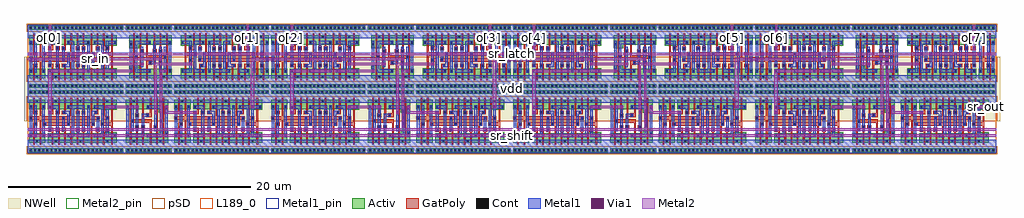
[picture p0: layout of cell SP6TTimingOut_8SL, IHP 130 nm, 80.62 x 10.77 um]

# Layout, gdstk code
from math import pi, radians
import gdstk
lib = gdstk.Library(unit=1e-6, precision=1e-09)
def R(c, l, rs):  # rectangles x0, y0, x1, y1
    for r in rs: c.add(gdstk.rectangle(r[:2], r[2:], *l))
def A(c, l, x, y, w, h, nx, ny, dx, dy):  # array of equal rectangles
    R(c, l, [(x+i*dx, y+j*dy, x+i*dx+w, y+j*dy+h) for i in range(nx) for j in range(ny)])
def P(c, l, *ps):  # polygons
    for p in ps: c.add(gdstk.Polygon(p, *l))
Activ = (1, 0)
GatPoly = (5, 0)
Cont = (6, 0)
Metal1 = (8, 0)
Metal1_pin = (8, 2)
Metal2 = (10, 0)
Metal2_pin = (10, 2)
pSD = (14, 0)
Via1 = (19, 0)
NWell = (31, 0)
L189_0 = (189, 0)

dff_x1 = lib.new_cell('dff_x1')
R(dff_x1, Activ, [(0.105,0.105,7.895,0.405), (0.105,0.89,1.445,1.67), (0.105,3.64,1.445,4.42), (0.105,4.905,7.895,5.205)])
P(dff_x1, Activ, [(6.415,3.6),(6.415,3.64),(1.655,3.64),(1.655,4.42),(7.365,4.42),(7.365,3.6)],
  [(1.655,0.89),(1.655,1.67),(6.415,1.67),(6.415,1.72),(7.365,1.72),(7.365,0.89)])
P(dff_x1, GatPoly, [(4.035,0.71),(4.035,1.79),(3.985,1.79),(3.985,2.09),(4.285,2.09),(4.285,1.79),(4.165,1.79),(4.165,0.71)],
  [(6.215,2.75),(6.215,4.6),(6.345,4.6),(6.345,3.05),(6.715,3.05),(6.715,2.75)],
  [(4.545,0.71),(4.545,1.79),(4.465,1.79),(4.465,2.09),(4.765,2.09),(4.765,1.79),(4.675,1.79),(4.675,0.71)],
  [(6.215,0.71),(6.215,2.09),(6.715,2.09),(6.715,1.79),(6.345,1.79),(6.345,0.71)],
  [(6.895,0.71),(6.895,2.27),(6.025,2.27),(6.025,2.57),(6.895,2.57),(6.895,4.6),(7.025,4.6),(7.025,0.71)],
  [(5.705,0.71),(5.705,1.79),(5.635,1.79),(5.635,2.09),(5.935,2.09),(5.935,1.79),(5.835,1.79),(5.835,0.71)],
  [(2.505,0.71),(2.505,1.79),(2.305,1.79),(2.305,2.09),(2.635,2.09),(2.635,0.71)],
  [(3.015,0.71),(3.015,1.79),(2.815,1.79),(2.815,2.09),(3.145,2.09),(3.145,0.71)],
  [(0.975,0.71),(0.975,2.75),(0.105,2.75),(0.105,3.05),(0.975,3.05),(0.975,4.6),(1.105,4.6),(1.105,3.05),(3.525,3.05),(3.525,4.6),(3.655,4.6),(3.655,3.05),(5.195,3.05),(5.195,4.6),(5.325,4.6),(5.325,3.05),(5.935,3.05),(5.935,2.75),(1.105,2.75),(1.105,0.71)],
  [(1.995,0.71),(1.995,1.79),(1.675,1.79),(1.675,2.09),(2.125,2.09),(2.125,0.71)],
  [(2.305,3.23),(2.305,3.53),(2.505,3.53),(2.505,4.6),(2.635,4.6),(2.635,3.23)],
  [(2.815,3.23),(2.815,3.53),(3.015,3.53),(3.015,4.6),(3.145,4.6),(3.145,3.23)],
  [(5.505,3.23),(5.505,3.53),(5.705,3.53),(5.705,4.6),(5.835,4.6),(5.835,3.23)],
  [(0.445,0.71),(0.445,2.57),(0.795,2.57),(0.795,2.27),(0.575,2.27),(0.575,0.71)],
  [(3.525,0.71),(3.525,2.27),(1.285,2.27),(1.285,2.57),(5.545,2.57),(5.545,2.27),(5.325,2.27),(5.325,0.71),(5.195,0.71),(5.195,2.27),(3.655,2.27),(3.655,0.71)],
  [(3.985,3.23),(3.985,3.53),(4.035,3.53),(4.035,4.6),(4.165,4.6),(4.165,3.53),(4.285,3.53),(4.285,3.23)],
  [(0.445,3.23),(0.445,4.6),(0.575,4.6),(0.575,3.53),(0.795,3.53),(0.795,3.23)],
  [(1.675,3.23),(1.675,3.53),(1.995,3.53),(1.995,4.6),(2.125,4.6),(2.125,3.23)],
  [(4.465,3.23),(4.465,3.53),(4.545,3.53),(4.545,4.6),(4.675,4.6),(4.675,3.53),(4.765,3.53),(4.765,3.23)])
A(dff_x1, Cont, 0.18, 0.175, 0.16, 0.16, 23, 2, 0.34, 4.8)
R(dff_x1, Cont, [(0.685,0.96,0.845,1.12), (2.235,0.96,2.395,1.12), (4.275,0.96,4.435,1.12), (6.485,0.96,6.645,1.12), (0.175,1.405,0.335,1.565), (1.215,1.405,1.375,1.565), (1.725,1.405,1.885,1.565), (3.255,1.405,3.415,1.565), (4.925,1.405,5.085,1.565), (5.435,1.405,5.595,1.565), (7.135,1.405,7.295,1.565), (1.745,1.86,1.905,2.02), (2.375,1.86,2.535,2.02), (2.885,1.86,3.045,2.02), (4.055,1.86,4.215,2.02), (4.535,1.86,4.695,2.02), (5.705,1.86,5.865,2.02), (6.485,1.86,6.645,2.02), (0.565,2.34,0.725,2.5), (1.355,2.34,1.515,2.5), (3.275,2.34,3.435,2.5), (5.315,2.34,5.475,2.5), (6.095,2.34,6.255,2.5), (0.175,2.82,0.335,2.98), (2.885,2.82,3.045,2.98), (5.705,2.82,5.865,2.98), (6.485,2.82,6.645,2.98), (0.565,3.3,0.725,3.46), (1.745,3.3,1.905,3.46), (2.375,3.3,2.535,3.46), (2.885,3.3,3.045,3.46), (4.055,3.3,4.215,3.46), (4.535,3.3,4.695,3.46), (5.575,3.3,5.735,3.46), (0.175,3.75,0.335,3.91), (1.215,3.75,1.375,3.91), (1.725,3.75,1.885,3.91), (3.255,3.75,3.415,3.91), (4.925,3.75,5.085,3.91), (5.435,3.75,5.595,3.91), (7.135,3.75,7.295,3.91), (0.685,4.19,0.845,4.35), (2.235,4.19,2.395,4.35), (4.275,4.19,4.435,4.35), (6.485,4.19,6.645,4.35)])
R(dff_x1, Metal1, [(0,0,8,1.12), (0.54,1.34,0.75,3.97), (1.72,1.81,1.93,3.51), (2.86,1.81,3.07,3.03), (5.68,1.81,5.89,3.03), (0,4.19,8,5.31)])
P(dff_x1, Metal1, [(0.175,1.34),(0.175,1.37),(0.15,1.37),(0.15,3.95),(0.175,3.95),(0.175,3.97),(0.335,3.97),(0.335,3.95),(0.36,3.95),(0.36,1.37),(0.335,1.37),(0.335,1.34)],
  [(1.215,1.34),(1.215,1.37),(1.19,1.37),(1.19,3.95),(1.215,3.95),(1.215,3.97),(1.375,3.97),(1.375,3.95),(1.4,3.95),(1.4,2.55),(1.515,2.55),(1.515,2.29),(1.4,2.29),(1.4,1.37),(1.375,1.37),(1.375,1.34)],
  [(5.29,2.29),(5.29,3.51),(5.735,3.51),(5.735,3.25),(5.5,3.25),(5.5,2.29)],
  [(3.25,2.29),(3.25,3.25),(2.885,3.25),(2.885,3.51),(3.46,3.51),(3.46,2.29)],
  [(3.255,1.34),(3.255,1.63),(3.64,1.63),(3.64,3.69),(3.255,3.69),(3.255,3.97),(4.615,3.97),(4.615,3.95),(4.72,3.95),(4.72,1.81),(4.51,1.81),(4.51,3.69),(3.85,3.69),(3.85,1.37),(3.745,1.37),(3.745,1.34)],
  [(1.725,1.34),(1.725,1.63),(2.35,1.63),(2.35,3.69),(1.725,3.69),(1.725,3.97),(2.455,3.97),(2.455,3.95),(2.56,3.95),(2.56,1.37),(2.455,1.37),(2.455,1.34)],
  [(4.135,1.34),(4.135,1.37),(4.03,1.37),(4.03,3.51),(4.24,3.51),(4.24,1.63),(4.9,1.63),(4.9,3.95),(4.925,3.95),(4.925,3.97),(5.085,3.97),(5.085,3.95),(5.11,3.95),(5.11,1.37),(5.085,1.37),(5.085,1.34)],
  [(5.435,1.34),(5.435,1.63),(6.07,1.63),(6.07,3.69),(5.435,3.69),(5.435,3.97),(6.175,3.97),(6.175,3.95),(6.28,3.95),(6.28,1.37),(6.175,1.37),(6.175,1.34)],
  [(6.46,1.34),(6.46,3.97),(7.295,3.97),(7.295,3.69),(6.67,3.69),(6.67,1.63),(7.295,1.63),(7.295,1.34)])
R(dff_x1, Metal1_pin, [(0,0,8,1.12), (0.54,1.34,0.75,3.97), (6.46,1.34,6.67,3.97), (1.72,1.81,1.93,3.51), (0,4.19,8,5.31)])
R(dff_x1, pSD, [(-0.075,-0.075,8.075,0.585), (-0.075,2.66,8.075,4.72)])
R(dff_x1, NWell, [(-0.31,2.66,8.31,5.62)])
dff_x1.add(gdstk.Label('vdd', (4,4.75), layer=8, texttype=25))
dff_x1.add(gdstk.Label('vss', (4,0.56), layer=8, texttype=25))
dff_x1.add(gdstk.Label('clk', (0.645,2.655), layer=8, texttype=25))
dff_x1.add(gdstk.Label('i', (1.825,2.66), layer=8, texttype=25))
dff_x1.add(gdstk.Label('q', (6.565,2.655), layer=8, texttype=25))

mux2_x1 = lib.new_cell('mux2_x1')
R(mux2_x1, Activ, [(0.105,0.105,3.895,0.405), (0.105,4.905,3.895,5.205)])
P(mux2_x1, Activ, [(2.805,3.36),(2.805,3.64),(0.105,3.64),(0.105,4.42),(3.615,4.42),(3.615,3.36)],
  [(0.105,0.89),(0.105,1.67),(2.805,1.67),(2.805,1.96),(3.615,1.96),(3.615,0.89)])
P(mux2_x1, GatPoly, [(1.775,2.99),(1.775,3.29),(2.095,3.29),(2.095,4.6),(2.225,4.6),(2.225,2.99)],
  [(0.955,0.71),(0.955,2.03),(0.885,2.03),(0.885,2.33),(1.185,2.33),(1.185,2.03),(1.085,2.03),(1.085,0.71)],
  [(1.465,0.71),(1.465,2.03),(1.365,2.03),(1.365,2.33),(1.665,2.33),(1.665,2.03),(1.595,2.03),(1.595,0.71)],
  [(0.445,0.71),(0.445,4.6),(0.575,4.6),(0.575,2.81),(1.465,2.81),(1.465,4.6),(1.595,4.6),(1.595,2.81),(2.225,2.81),(2.225,0.71),(2.095,0.71),(2.095,2.51),(0.575,2.51),(0.575,0.71)],
  [(0.885,2.99),(0.885,3.29),(0.955,3.29),(0.955,4.6),(1.085,4.6),(1.085,3.29),(1.185,3.29),(1.185,2.99)],
  [(3.145,0.71),(3.145,2.51),(2.915,2.51),(2.915,2.81),(3.145,2.81),(3.145,4.6),(3.275,4.6),(3.275,0.71)],
  [(2.605,0.71),(2.605,2.03),(2.405,2.03),(2.405,2.33),(2.605,2.33),(2.605,4.6),(2.735,4.6),(2.735,0.71)])
A(mux2_x1, Cont, 0.22, 0.175, 0.16, 0.16, 11, 2, 0.34, 4.8)
R(mux2_x1, Cont, [(0.685,0.96,0.845,1.12), (2.875,0.96,3.035,1.12), (0.175,1.415,0.335,1.575), (1.825,1.415,1.985,1.575), (3.385,1.525,3.545,1.685), (0.955,2.1,1.115,2.26), (1.435,2.1,1.595,2.26), (2.475,2.1,2.635,2.26), (0.565,2.58,0.725,2.74), (2.985,2.58,3.145,2.74), (0.955,3.06,1.115,3.22), (1.845,3.06,2.005,3.22), (3.385,3.63,3.545,3.79), (0.175,3.735,0.335,3.895), (1.825,3.735,1.985,3.895), (0.685,4.19,0.845,4.35), (2.875,4.19,3.035,4.35)])
R(mux2_x1, Metal1, [(0,0,4,1.12), (3.36,1.34,3.57,3.97), (0.54,1.805,0.75,3.97), (0.93,1.805,1.14,3.97), (2.45,1.805,2.66,3.505), (0,4.19,4,5.31)])
P(mux2_x1, Metal1, [(0.175,1.34),(0.175,1.365),(0.15,1.365),(0.15,3.945),(0.175,3.945),(0.175,3.97),(0.335,3.97),(0.335,3.945),(0.36,3.945),(0.36,1.625),(1.41,1.625),(1.41,3.27),(2.005,3.27),(2.005,3.01),(1.62,3.01),(1.62,1.365),(1.515,1.365),(1.515,1.34)],
  [(1.825,1.34),(1.825,1.625),(2.96,1.625),(2.96,3.685),(1.825,3.685),(1.825,3.97),(3.065,3.97),(3.065,3.945),(3.17,3.945),(3.17,1.365),(3.065,1.365),(3.065,1.34)])
R(mux2_x1, Metal1_pin, [(0,0,4,1.12), (3.36,1.34,3.57,3.97), (0.54,1.805,0.75,3.97), (0.93,1.805,1.14,3.97), (2.45,1.805,2.66,3.505), (0,4.19,4,5.31)])
R(mux2_x1, pSD, [(-0.075,-0.075,4.075,0.585), (-0.075,2.66,4.075,4.72)])
R(mux2_x1, NWell, [(-0.31,2.66,4.31,5.62)])
mux2_x1.add(gdstk.Label('vdd', (2,4.75), layer=8, texttype=25))
mux2_x1.add(gdstk.Label('vss', (2,0.56), layer=8, texttype=25))
mux2_x1.add(gdstk.Label('cmd', (0.645,2.887), layer=8, texttype=25))
mux2_x1.add(gdstk.Label('i0', (1.035,2.887), layer=8, texttype=25))
mux2_x1.add(gdstk.Label('i1', (2.555,2.655), layer=8, texttype=25))
mux2_x1.add(gdstk.Label('q', (3.465,2.655), layer=8, texttype=25))

sp6ttimingout_8sl = lib.new_cell('SP6TTimingOut_8SL')
A(sp6ttimingout_8sl, Metal1, 8.54, 1.805, 0.21, 0.29, 4, 1, 20, 0)
A(sp6ttimingout_8sl, Metal1, 10.45, 3.215, 0.21, 0.29, 4, 1, 20, 0)
A(sp6ttimingout_8sl, Metal1, 10.86, 7.655, 0.21, 0.29, 4, 1, 20, 0)
R(sp6ttimingout_8sl, Metal1, [(0,0,80,1.12), (0.54,1.34,0.75,1.63), (12.54,1.34,12.75,1.63), (20.54,1.34,20.75,1.63), (32.54,1.34,32.75,1.63), (40.54,1.34,40.75,1.63), (52.54,1.34,52.75,1.63), (60.54,1.34,60.75,1.63), (72.54,1.34,72.75,1.63), (1.72,3.22,1.93,3.51), (13.72,3.22,13.93,3.51), (21.72,3.22,21.93,3.51), (33.72,3.22,33.93,3.51), (41.72,3.22,41.93,3.51), (53.72,3.22,53.93,3.51), (61.72,3.22,61.93,3.51), (73.72,3.22,73.93,3.51), (6.46,3.68,6.67,3.97), (8.93,3.68,9.14,3.97), (11.36,3.68,11.57,3.97), (18.46,3.68,18.67,3.97), (26.46,3.68,26.67,3.97), (28.93,3.68,29.14,3.97), (31.36,3.68,31.57,3.97), (38.46,3.68,38.67,3.97), (46.46,3.68,46.67,3.97), (48.93,3.68,49.14,3.97), (51.36,3.68,51.57,3.97), (58.46,3.68,58.67,3.97), (66.46,3.68,66.67,3.97), (68.93,3.68,69.14,3.97), (71.36,3.68,71.57,3.97), (78.46,3.68,78.67,3.97), (0,4.19,80,6.43), (8.43,6.65,8.64,6.94), (11.25,6.65,11.46,6.94), (28.43,6.65,28.64,6.94), (31.25,6.65,31.46,6.94), (48.43,6.65,48.64,6.94), (51.25,6.65,51.46,6.94), (68.43,6.65,68.64,6.94), (71.25,6.65,71.46,6.94), (6.46,7.245,6.67,7.535), (9.34,7.245,9.55,7.535), (13.33,7.245,13.54,7.535), (26.46,7.245,26.67,7.535), (29.34,7.245,29.55,7.535), (33.33,7.245,33.54,7.535), (46.46,7.245,46.67,7.535), (49.34,7.245,49.55,7.535), (53.33,7.245,53.54,7.535), (66.46,7.245,66.67,7.535), (69.34,7.245,69.55,7.535), (73.33,7.245,73.54,7.535), (0.54,8.065,0.75,8.355), (19.25,8.065,19.46,8.355), (20.54,8.065,20.75,8.355), (39.25,8.065,39.46,8.355), (40.54,8.065,40.75,8.355), (59.25,8.065,59.46,8.355), (60.54,8.065,60.75,8.355), (79.25,8.065,79.46,8.355), (1.72,8.52,1.93,8.81), (18.07,8.52,18.28,8.81), (21.72,8.52,21.93,8.81), (38.07,8.52,38.28,8.81), (41.72,8.52,41.93,8.81), (58.07,8.52,58.28,8.81), (61.72,8.52,61.93,8.81), (78.07,8.52,78.28,8.81), (0,9.5,80,10.62)])
R(sp6ttimingout_8sl, Metal1_pin, [(0,0,80,1.12), (0,4.19,80,6.43), (0,9.5,80,10.62)])
A(sp6ttimingout_8sl, Metal2, 6.42, 3.725, 2.76, 0.2, 4, 1, 20, 0)
A(sp6ttimingout_8sl, Metal2, 6.42, 7.29, 3.17, 0.2, 4, 1, 20, 0)
R(sp6ttimingout_8sl, Metal2, [(0,1.385,80,1.585), (78.42,3.725,80,3.925), (0,7.7,11.11,7.9), (0,8.11,80,8.31), (1.725,8.52,1.925,10.62), (18.075,8.52,18.275,10.62), (21.725,8.52,21.925,10.62), (38.075,8.52,38.275,10.62), (41.725,8.52,41.925,10.62), (58.075,8.52,58.275,10.62), (61.725,8.52,61.925,10.62), (78.075,8.52,78.275,10.62)])
P(sp6ttimingout_8sl, Metal2, [(0,1.85),(0,2.05),(10.91,2.05),(10.91,6.895),(11.5,6.895),(11.5,6.695),(11.11,6.695),(11.11,2.05),(30.91,2.05),(30.91,6.895),(31.5,6.895),(31.5,6.695),(31.11,6.695),(31.11,2.05),(50.91,2.05),(50.91,6.895),(51.5,6.895),(51.5,6.695),(51.11,6.695),(51.11,2.05),(70.91,2.05),(70.91,6.895),(71.5,6.895),(71.5,6.695),(71.11,6.695),(71.11,2.05),(80,2.05),(80,1.85)],
  [(1.68,3.265),(1.68,6.895),(8.68,6.895),(8.68,6.695),(1.97,6.695),(1.97,3.265)],
  [(21.68,3.265),(21.68,6.895),(28.68,6.895),(28.68,6.695),(21.97,6.695),(21.97,3.265)],
  [(41.68,3.265),(41.68,6.895),(48.68,6.895),(48.68,6.695),(41.97,6.695),(41.97,3.265)],
  [(61.68,3.265),(61.68,6.895),(68.68,6.895),(68.68,6.695),(61.97,6.695),(61.97,3.265)],
  [(18.42,3.725),(18.42,7.9),(31.11,7.9),(31.11,7.7),(18.71,7.7),(18.71,3.725)],
  [(38.42,3.725),(38.42,7.9),(51.11,7.9),(51.11,7.7),(38.71,7.7),(38.71,3.725)],
  [(58.42,3.725),(58.42,7.9),(71.11,7.9),(71.11,7.7),(58.71,7.7),(58.71,3.725)],
  [(11.32,3.265),(11.32,3.925),(11.61,3.925),(11.61,3.465),(13.97,3.465),(13.97,3.265)],
  [(31.32,3.265),(31.32,3.925),(31.61,3.925),(31.61,3.465),(33.97,3.465),(33.97,3.265)],
  [(51.32,3.265),(51.32,3.925),(51.61,3.925),(51.61,3.465),(53.97,3.465),(53.97,3.265)],
  [(71.32,3.265),(71.32,3.925),(71.61,3.925),(71.61,3.465),(73.97,3.465),(73.97,3.265)],
  [(10.455,3.215),(10.455,7.49),(13.58,7.49),(13.58,7.29),(10.655,7.29),(10.655,3.215)],
  [(30.455,3.215),(30.455,7.49),(33.58,7.49),(33.58,7.29),(30.655,7.29),(30.655,3.215)],
  [(50.455,3.215),(50.455,7.49),(53.58,7.49),(53.58,7.29),(50.655,7.29),(50.655,3.215)],
  [(70.455,3.215),(70.455,7.49),(73.58,7.49),(73.58,7.29),(70.655,7.29),(70.655,3.215)])
R(sp6ttimingout_8sl, Metal2_pin, [(0,1.385,80,1.585), (0,1.85,80,2.05), (78.42,3.725,80,3.925), (0,7.7,11.11,7.9), (0,8.11,80,8.31), (1.725,8.52,1.925,10.62), (18.075,8.52,18.275,10.62), (21.725,8.52,21.925,10.62), (38.075,8.52,38.275,10.62), (41.725,8.52,41.925,10.62), (58.075,8.52,58.275,10.62), (61.725,8.52,61.925,10.62), (78.075,8.52,78.275,10.62)])
A(sp6ttimingout_8sl, Via1, 8.55, 1.855, 0.19, 0.19, 4, 1, 20, 0)
A(sp6ttimingout_8sl, Via1, 10.46, 3.265, 0.19, 0.19, 4, 1, 20, 0)
A(sp6ttimingout_8sl, Via1, 10.87, 7.705, 0.19, 0.19, 4, 1, 20, 0)
R(sp6ttimingout_8sl, Via1, [(0.55,1.39,0.74,1.58), (12.55,1.39,12.74,1.58), (20.55,1.39,20.74,1.58), (32.55,1.39,32.74,1.58), (40.55,1.39,40.74,1.58), (52.55,1.39,52.74,1.58), (60.55,1.39,60.74,1.58), (72.55,1.39,72.74,1.58), (1.73,3.27,1.92,3.46), (13.73,3.27,13.92,3.46), (21.73,3.27,21.92,3.46), (33.73,3.27,33.92,3.46), (41.73,3.27,41.92,3.46), (53.73,3.27,53.92,3.46), (61.73,3.27,61.92,3.46), (73.73,3.27,73.92,3.46), (6.47,3.73,6.66,3.92), (8.94,3.73,9.13,3.92), (11.37,3.73,11.56,3.92), (18.47,3.73,18.66,3.92), (26.47,3.73,26.66,3.92), (28.94,3.73,29.13,3.92), (31.37,3.73,31.56,3.92), (38.47,3.73,38.66,3.92), (46.47,3.73,46.66,3.92), (48.94,3.73,49.13,3.92), (51.37,3.73,51.56,3.92), (58.47,3.73,58.66,3.92), (66.47,3.73,66.66,3.92), (68.94,3.73,69.13,3.92), (71.37,3.73,71.56,3.92), (78.47,3.73,78.66,3.92), (8.44,6.7,8.63,6.89), (11.26,6.7,11.45,6.89), (28.44,6.7,28.63,6.89), (31.26,6.7,31.45,6.89), (48.44,6.7,48.63,6.89), (51.26,6.7,51.45,6.89), (68.44,6.7,68.63,6.89), (71.26,6.7,71.45,6.89), (6.47,7.295,6.66,7.485), (9.35,7.295,9.54,7.485), (13.34,7.295,13.53,7.485), (26.47,7.295,26.66,7.485), (29.35,7.295,29.54,7.485), (33.34,7.295,33.53,7.485), (46.47,7.295,46.66,7.485), (49.35,7.295,49.54,7.485), (53.34,7.295,53.53,7.485), (66.47,7.295,66.66,7.485), (69.35,7.295,69.54,7.485), (73.34,7.295,73.53,7.485), (0.55,8.115,0.74,8.305), (19.26,8.115,19.45,8.305), (20.55,8.115,20.74,8.305), (39.26,8.115,39.45,8.305), (40.55,8.115,40.74,8.305), (59.26,8.115,59.45,8.305), (60.55,8.115,60.74,8.305), (79.26,8.115,79.45,8.305), (1.73,8.57,1.92,8.76), (18.08,8.57,18.27,8.76), (21.73,8.57,21.92,8.76), (38.08,8.57,38.27,8.76), (41.73,8.57,41.92,8.76), (58.08,8.57,58.27,8.76), (61.73,8.57,61.92,8.76), (78.08,8.57,78.27,8.76)])
R(sp6ttimingout_8sl, L189_0, [(0,0,80,10.62)])
sp6ttimingout_8sl.add(gdstk.Reference(dff_x1, (0,0)))
sp6ttimingout_8sl.add(gdstk.Reference(dff_x1, (12,0)))
sp6ttimingout_8sl.add(gdstk.Reference(dff_x1, (20,0)))
sp6ttimingout_8sl.add(gdstk.Reference(dff_x1, (32,0)))
sp6ttimingout_8sl.add(gdstk.Reference(dff_x1, (40,0)))
sp6ttimingout_8sl.add(gdstk.Reference(dff_x1, (52,0)))
sp6ttimingout_8sl.add(gdstk.Reference(dff_x1, (60,0)))
sp6ttimingout_8sl.add(gdstk.Reference(dff_x1, (72,0)))
sp6ttimingout_8sl.add(gdstk.Reference(dff_x1, (0,10.62), x_reflection=True))
sp6ttimingout_8sl.add(gdstk.Reference(dff_x1, (20,10.62), x_reflection=True))
sp6ttimingout_8sl.add(gdstk.Reference(dff_x1, (40,10.62), x_reflection=True))
sp6ttimingout_8sl.add(gdstk.Reference(dff_x1, (60,10.62), x_reflection=True))
sp6ttimingout_8sl.add(gdstk.Reference(mux2_x1, (12,10.62), rotation=pi))
sp6ttimingout_8sl.add(gdstk.Reference(mux2_x1, (32,10.62), rotation=pi))
sp6ttimingout_8sl.add(gdstk.Reference(mux2_x1, (52,10.62), rotation=pi))
sp6ttimingout_8sl.add(gdstk.Reference(mux2_x1, (72,10.62), rotation=pi))
sp6ttimingout_8sl.add(gdstk.Reference(dff_x1, (20,10.62), rotation=pi))
sp6ttimingout_8sl.add(gdstk.Reference(dff_x1, (40,10.62), rotation=pi))
sp6ttimingout_8sl.add(gdstk.Reference(dff_x1, (60,10.62), rotation=pi))
sp6ttimingout_8sl.add(gdstk.Reference(dff_x1, (80,10.62), rotation=pi))
sp6ttimingout_8sl.add(gdstk.Reference(mux2_x1, (8,0)))
sp6ttimingout_8sl.add(gdstk.Reference(mux2_x1, (28,0)))
sp6ttimingout_8sl.add(gdstk.Reference(mux2_x1, (48,0)))
sp6ttimingout_8sl.add(gdstk.Reference(mux2_x1, (68,0)))
sp6ttimingout_8sl.add(gdstk.Label('sr_shift', (40,1.485), layer=10, texttype=25))
sp6ttimingout_8sl.add(gdstk.Label('o[6]', (61.825,9.57), layer=10, texttype=25))
sp6ttimingout_8sl.add(gdstk.Label('o[7]', (78.175,9.57), layer=10, texttype=25))
sp6ttimingout_8sl.add(gdstk.Label('l2s', (40,1.95), layer=10, texttype=25))
sp6ttimingout_8sl.add(gdstk.Label('o[3]', (38.175,9.57), layer=10, texttype=25))
sp6ttimingout_8sl.add(gdstk.Label('sr_out', (79.21,3.825), layer=10, texttype=25))
sp6ttimingout_8sl.add(gdstk.Label('o[0]', (1.825,9.57), layer=10, texttype=25))
sp6ttimingout_8sl.add(gdstk.Label('o[1]', (18.175,9.57), layer=10, texttype=25))
sp6ttimingout_8sl.add(gdstk.Label('o[2]', (21.825,9.57), layer=10, texttype=25))
sp6ttimingout_8sl.add(gdstk.Label('o[4]', (41.825,9.57), layer=10, texttype=25))
sp6ttimingout_8sl.add(gdstk.Label('o[5]', (58.175,9.57), layer=10, texttype=25))
sp6ttimingout_8sl.add(gdstk.Label('sr_latch', (40,8.21), layer=10, texttype=25))
sp6ttimingout_8sl.add(gdstk.Label('sr_in', (5.555,7.8), layer=10, texttype=25))
sp6ttimingout_8sl.add(gdstk.Label('vss', (40,0.56), layer=8, texttype=25))
sp6ttimingout_8sl.add(gdstk.Label('vss', (40,10.06), layer=8, texttype=25))
sp6ttimingout_8sl.add(gdstk.Label('vdd', (40,5.31), layer=8, texttype=25))

lib.write_gds('SP6TTimingOut_8SL.gds')
